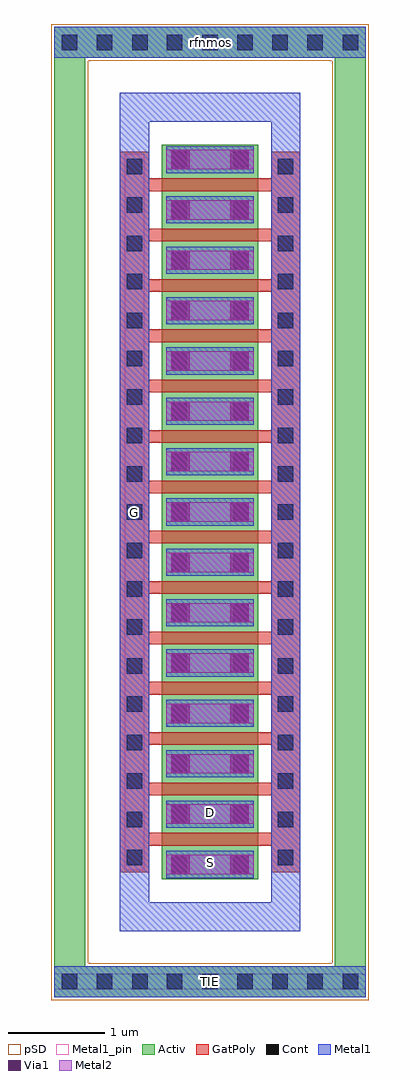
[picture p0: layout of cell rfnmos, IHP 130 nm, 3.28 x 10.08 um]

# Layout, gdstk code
import gdstk
lib = gdstk.Library(unit=1e-6, precision=5e-09)
def R(c, l, rs):  # rectangles x0, y0, x1, y1
    for r in rs: c.add(gdstk.rectangle(r[:2], r[2:], *l))
def A(c, l, x, y, w, h, nx, ny, dx, dy):  # array of equal rectangles
    R(c, l, [(x+i*dx, y+j*dy, x+i*dx+w, y+j*dy+h) for i in range(nx) for j in range(ny)])
def P(c, l, *ps):  # polygons
    for p in ps: c.add(gdstk.Polygon(p, *l))
Activ = (1, 0)
GatPoly = (5, 0)
Cont = (6, 0)
Metal1 = (8, 0)
Metal1_pin = (8, 2)
Metal2 = (10, 0)
pSD = (14, 0)
Via1 = (19, 0)

rfnmos = lib.new_cell('rfnmos')
R(rfnmos, Activ, [(1.14,1.245,2.14,8.835)])
P(rfnmos, Activ, [(0.03,0.03),(0.03,9.73),(0.35,9.73),(0.35,0.35),(2.93,0.35),(2.93,9.73),(0.03,9.73),(0.03,10.05),(3.25,10.05),(3.25,0.03)])
A(rfnmos, GatPoly, 1.01, 1.595, 1.26, 0.13, 1, 14, 0, 0.52)
R(rfnmos, GatPoly, [(0.71,1.32,1.01,8.76), (2.27,1.32,2.57,8.76)])
A(rfnmos, Cont, 1.24, 1.32, 0.16, 0.16, 1, 15, 0, 0.52)
A(rfnmos, Cont, 1.88, 1.32, 0.16, 0.16, 1, 15, 0, 0.52)
A(rfnmos, Cont, 0.78, 1.39, 0.16, 0.16, 1, 3, 0, 0.395)
A(rfnmos, Cont, 2.34, 1.39, 0.16, 0.16, 1, 3, 0, 0.395)
A(rfnmos, Cont, 0.78, 2.58, 0.16, 0.16, 1, 3, 0, 0.395)
A(rfnmos, Cont, 2.34, 2.58, 0.16, 0.16, 1, 3, 0, 0.395)
A(rfnmos, Cont, 0.78, 3.77, 0.16, 0.16, 1, 3, 0, 0.395)
A(rfnmos, Cont, 2.34, 3.77, 0.16, 0.16, 1, 3, 0, 0.395)
A(rfnmos, Cont, 0.78, 4.96, 0.16, 0.16, 1, 3, 0, 0.395)
A(rfnmos, Cont, 2.34, 4.96, 0.16, 0.16, 1, 3, 0, 0.395)
A(rfnmos, Cont, 0.78, 6.15, 0.16, 0.16, 1, 3, 0, 0.395)
A(rfnmos, Cont, 2.34, 6.15, 0.16, 0.16, 1, 3, 0, 0.395)
A(rfnmos, Cont, 0.78, 7.34, 0.16, 0.16, 1, 3, 0, 0.395)
A(rfnmos, Cont, 2.34, 7.34, 0.16, 0.16, 1, 3, 0, 0.395)
R(rfnmos, Cont, [(0.11,0.11,0.27,0.27), (0.47,0.11,0.63,0.27), (0.835,0.11,0.995,0.27), (1.195,0.11,1.355,0.27), (1.56,0.11,1.72,0.27), (1.92,0.11,2.08,0.27), (2.285,0.11,2.445,0.27), (2.645,0.11,2.805,0.27), (3.01,0.11,3.17,0.27), (0.78,8.53,0.94,8.69), (2.34,8.53,2.5,8.69), (0.11,9.81,0.27,9.97), (0.47,9.81,0.63,9.97), (0.835,9.81,0.995,9.97), (1.195,9.81,1.355,9.97), (1.56,9.81,1.72,9.97), (1.92,9.81,2.08,9.97), (2.285,9.81,2.445,9.97), (2.645,9.81,2.805,9.97), (3.01,9.81,3.17,9.97)])
A(rfnmos, Metal1, 1.19, 1.26, 0.9, 0.28, 1, 15, 0, 0.52)
R(rfnmos, Metal1, [(0.03,0.03,3.25,0.35), (0.76,1.34,0.96,8.74), (2.32,1.34,2.52,8.74), (0.03,9.73,3.25,10.05)])
P(rfnmos, Metal1, [(0.71,0.71),(0.71,9.07),(1.01,9.07),(1.01,1.01),(2.27,1.01),(2.27,9.07),(0.71,9.07),(0.71,9.37),(2.57,9.37),(2.57,0.71)])
R(rfnmos, Metal1_pin, [(0.03,0.11,3.25,0.27), (0.03,0.11,3.25,0.27), (1.19,1.26,2.09,1.54), (1.19,1.26,2.09,1.54), (0.76,1.34,0.96,8.74), (0.76,1.34,0.96,8.74), (1.19,1.78,2.09,2.06), (1.19,1.78,2.09,2.06)])
A(rfnmos, Metal2, 1.19, 1.3, 0.9, 0.2, 1, 15, 0, 0.52)
P(rfnmos, pSD, [(0,0),(0,9.7),(0.38,9.7),(0.38,0.38),(2.9,0.38),(2.9,9.7),(0,9.7),(0,10.08),(3.28,10.08),(3.28,0)])
A(rfnmos, Via1, 1.24, 1.305, 0.19, 0.19, 1, 15, 0, 0.52)
A(rfnmos, Via1, 1.85, 1.305, 0.19, 0.19, 1, 15, 0, 0.52)
rfnmos.add(gdstk.Label('S', (1.64,1.42), layer=63, texttype=0))
rfnmos.add(gdstk.Label('D', (1.64,1.94), layer=63, texttype=0))
rfnmos.add(gdstk.Label('G', (0.86,5.04), layer=63, texttype=0))
rfnmos.add(gdstk.Label('TIE', (1.64,0.19), layer=63, texttype=0))
rfnmos.add(gdstk.Label('rfnmos', (1.64,9.89), layer=63, texttype=0))

lib.write_gds('rfnmos.gds')
